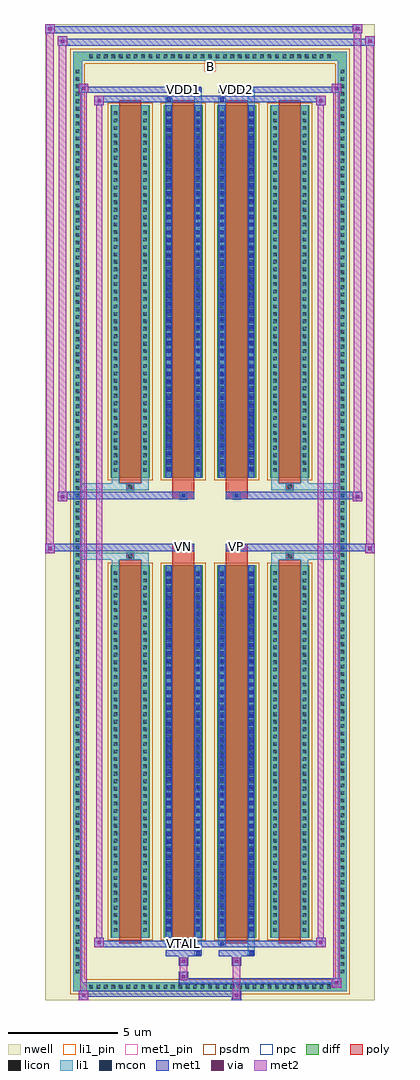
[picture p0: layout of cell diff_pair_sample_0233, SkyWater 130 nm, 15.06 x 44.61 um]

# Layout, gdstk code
import gdstk
lib = gdstk.Library(unit=1e-6, precision=5e-09)
def R(c, l, rs):  # rectangles x0, y0, x1, y1
    for r in rs: c.add(gdstk.rectangle(r[:2], r[2:], *l))
def A(c, l, x, y, w, h, nx, ny, dx, dy):  # array of equal rectangles
    R(c, l, [(x+i*dx, y+j*dy, x+i*dx+w, y+j*dy+h) for i in range(nx) for j in range(ny)])
def P(c, l, *ps):  # polygons
    for p in ps: c.add(gdstk.Polygon(p, *l))
nwell = (64, 20)
diff = (65, 20)
poly = (66, 20)
licon = (66, 44)
li1_pin = (67, 16)
li1 = (67, 20)
mcon = (67, 44)
met1_pin = (68, 16)
met1 = (68, 20)
via = (68, 44)
met2 = (69, 20)
psdm = (94, 20)
npc = (95, 20)

diff_pair_sample_0233 = lib.new_cell('diff_pair_sample_0233')
R(diff_pair_sample_0233, nwell, [(-7.53,-21.87,7.53,22.74), (-4.85,-20.06,-0.01,-0.82), (0.01,-20.06,4.85,-0.82), (-4.85,0.82,-0.01,20.06), (0.01,0.82,4.85,20.06)])
A(diff_pair_sample_0233, diff, -5.645, -21.47, 0.41, 0.41, 33, 2, 0.34, 42.53)
A(diff_pair_sample_0233, diff, -6.26, -20.775, 0.41, 0.41, 1, 122, 0, 0.34)
A(diff_pair_sample_0233, diff, 5.85, -20.775, 0.41, 0.41, 1, 122, 0, 0.34)
A(diff_pair_sample_0233, diff, -4.54, -19.015, 1.79, 17.01, 4, 2, 2.43, 21.02)
R(diff_pair_sample_0233, diff, [(-5.645,-21.47,5.645,-21.06), (-6.26,-20.775,-5.85,20.775), (5.85,-20.775,6.26,20.775), (-5.645,21.06,5.645,21.47)])
P(diff_pair_sample_0233, diff, [(6.26,21.47),(-6.26,21.47),(-6.26,-21.06),(-5.85,-21.06),(-5.85,21.06),(5.85,21.06),(5.85,-21.06),(-5.85,-21.06),(-6.26,-21.06),(-6.26,-21.47),(6.26,-21.47)])
A(diff_pair_sample_0233, poly, -4.15, -19.265, 1.01, 17.51, 4, 2, 2.43, 21.02)
R(diff_pair_sample_0233, poly, [(-3.81,-1.755,-3.48,-1.425), (-3.81,-1.755,-3.48,-1.425), (-1.72,-1.755,-0.71,-1.35), (0.71,-1.755,1.72,-1.35), (3.48,-1.755,3.81,-1.425), (3.48,-1.755,3.81,-1.425), (-1.72,-1.35,-0.71,-1.02), (-1.38,-1.35,-1.05,-1.02), (0.71,-1.35,1.72,-1.02), (1.05,-1.35,1.38,-1.02), (-1.72,1.02,-0.71,1.35), (-1.38,1.02,-1.05,1.35), (0.71,1.02,1.72,1.35), (1.05,1.02,1.38,1.35), (-1.72,1.35,-0.71,1.755), (0.71,1.35,1.72,1.755), (-3.81,1.425,-3.48,1.755), (-3.81,1.425,-3.48,1.755), (3.48,1.425,3.81,1.755), (3.48,1.425,3.81,1.755)])
A(diff_pair_sample_0233, licon, -5.525, -21.35, 0.17, 0.17, 33, 2, 0.34, 42.53)
A(diff_pair_sample_0233, licon, -6.14, -20.655, 0.17, 0.17, 1, 122, 0, 0.34)
A(diff_pair_sample_0233, licon, 5.97, -20.655, 0.17, 0.17, 1, 122, 0, 0.34)
A(diff_pair_sample_0233, licon, -4.4, -18.755, 0.17, 0.17, 1, 49, 0, 0.34)
A(diff_pair_sample_0233, licon, -3.06, -18.755, 0.17, 0.17, 1, 49, 0, 0.34)
A(diff_pair_sample_0233, licon, -1.97, -18.755, 0.17, 0.17, 1, 49, 0, 0.34)
A(diff_pair_sample_0233, licon, -0.63, -18.755, 0.17, 0.17, 1, 49, 0, 0.34)
A(diff_pair_sample_0233, licon, 0.46, -18.755, 0.17, 0.17, 1, 49, 0, 0.34)
A(diff_pair_sample_0233, licon, 1.8, -18.755, 0.17, 0.17, 1, 49, 0, 0.34)
A(diff_pair_sample_0233, licon, 2.89, -18.755, 0.17, 0.17, 1, 49, 0, 0.34)
A(diff_pair_sample_0233, licon, 4.23, -18.755, 0.17, 0.17, 1, 49, 0, 0.34)
A(diff_pair_sample_0233, licon, -4.4, 2.265, 0.17, 0.17, 1, 49, 0, 0.34)
A(diff_pair_sample_0233, licon, -3.06, 2.265, 0.17, 0.17, 1, 49, 0, 0.34)
A(diff_pair_sample_0233, licon, -1.97, 2.265, 0.17, 0.17, 1, 49, 0, 0.34)
A(diff_pair_sample_0233, licon, -0.63, 2.265, 0.17, 0.17, 1, 49, 0, 0.34)
A(diff_pair_sample_0233, licon, 0.46, 2.265, 0.17, 0.17, 1, 49, 0, 0.34)
A(diff_pair_sample_0233, licon, 1.8, 2.265, 0.17, 0.17, 1, 49, 0, 0.34)
A(diff_pair_sample_0233, licon, 2.89, 2.265, 0.17, 0.17, 1, 49, 0, 0.34)
A(diff_pair_sample_0233, licon, 4.23, 2.265, 0.17, 0.17, 1, 49, 0, 0.34)
R(diff_pair_sample_0233, licon, [(-3.73,-1.675,-3.56,-1.505), (3.56,-1.675,3.73,-1.505), (-1.3,-1.27,-1.13,-1.1), (1.13,-1.27,1.3,-1.1), (-1.3,1.1,-1.13,1.27), (1.13,1.1,1.3,1.27), (-3.73,1.505,-3.56,1.675), (3.56,1.505,3.73,1.675)])
R(diff_pair_sample_0233, li1_pin, [(-0.25,20.56,0.25,21.06)])
A(diff_pair_sample_0233, li1, -5.605, -21.43, 0.33, 0.33, 33, 2, 0.34, 42.53)
A(diff_pair_sample_0233, li1, -6.22, -20.735, 0.33, 0.33, 1, 122, 0, 0.34)
A(diff_pair_sample_0233, li1, 5.89, -20.735, 0.33, 0.33, 1, 122, 0, 0.34)
A(diff_pair_sample_0233, li1, -4.48, -18.835, 0.33, 0.33, 1, 49, 0, 0.34)
A(diff_pair_sample_0233, li1, -3.14, -18.835, 0.33, 0.33, 1, 49, 0, 0.34)
A(diff_pair_sample_0233, li1, -2.05, -18.835, 0.33, 0.33, 1, 49, 0, 0.34)
A(diff_pair_sample_0233, li1, -0.71, -18.835, 0.33, 0.33, 1, 49, 0, 0.34)
A(diff_pair_sample_0233, li1, 0.38, -18.835, 0.33, 0.33, 1, 49, 0, 0.34)
A(diff_pair_sample_0233, li1, 1.72, -18.835, 0.33, 0.33, 1, 49, 0, 0.34)
A(diff_pair_sample_0233, li1, 2.81, -18.835, 0.33, 0.33, 1, 49, 0, 0.34)
A(diff_pair_sample_0233, li1, 4.15, -18.835, 0.33, 0.33, 1, 49, 0, 0.34)
A(diff_pair_sample_0233, li1, -1.97, -18.695, 0.17, 0.17, 1, 46, 0, 0.36)
A(diff_pair_sample_0233, li1, -0.63, -18.695, 0.17, 0.17, 1, 46, 0, 0.36)
A(diff_pair_sample_0233, li1, 0.46, -18.695, 0.17, 0.17, 1, 46, 0, 0.36)
A(diff_pair_sample_0233, li1, 1.8, -18.695, 0.17, 0.17, 1, 46, 0, 0.36)
A(diff_pair_sample_0233, li1, -4.48, 2.185, 0.33, 0.33, 1, 49, 0, 0.34)
A(diff_pair_sample_0233, li1, -3.14, 2.185, 0.33, 0.33, 1, 49, 0, 0.34)
A(diff_pair_sample_0233, li1, -2.05, 2.185, 0.33, 0.33, 1, 49, 0, 0.34)
A(diff_pair_sample_0233, li1, -0.71, 2.185, 0.33, 0.33, 1, 49, 0, 0.34)
A(diff_pair_sample_0233, li1, 0.38, 2.185, 0.33, 0.33, 1, 49, 0, 0.34)
A(diff_pair_sample_0233, li1, 1.72, 2.185, 0.33, 0.33, 1, 49, 0, 0.34)
A(diff_pair_sample_0233, li1, 2.81, 2.185, 0.33, 0.33, 1, 49, 0, 0.34)
A(diff_pair_sample_0233, li1, 4.15, 2.185, 0.33, 0.33, 1, 49, 0, 0.34)
A(diff_pair_sample_0233, li1, -1.97, 2.325, 0.17, 0.17, 1, 46, 0, 0.36)
A(diff_pair_sample_0233, li1, -0.63, 2.325, 0.17, 0.17, 1, 46, 0, 0.36)
A(diff_pair_sample_0233, li1, 0.46, 2.325, 0.17, 0.17, 1, 46, 0, 0.36)
A(diff_pair_sample_0233, li1, 1.8, 2.325, 0.17, 0.17, 1, 46, 0, 0.36)
R(diff_pair_sample_0233, li1, [(-6.26,-21.47,-5.85,-21.06), (-6.26,-21.47,-5.85,-21.06), (-5.85,-21.47,5.85,-21.06), (5.85,-21.47,6.26,-21.06), (5.85,-21.47,6.26,-21.06), (-6.26,-21.06,-5.85,21.06), (5.85,-21.06,6.26,21.06), (-0.71,-19.82,-0.38,-19.015), (-0.63,-19.82,-0.46,-19.65), (1.72,-19.82,2.05,-19.015), (1.8,-19.82,1.97,-19.65), (-2.05,-19.39,-1.72,-19.015), (-1.97,-19.39,-1.8,-19.22), (0.38,-19.39,0.71,-19.015), (0.46,-19.39,0.63,-19.22), (-4.48,-19.015,-4.15,-2.005), (-3.14,-19.015,-2.81,-2.005), (-2.05,-19.015,-1.72,-2.005), (-0.71,-19.015,-0.38,-2.005), (0.38,-19.015,0.71,-2.005), (1.72,-19.015,2.05,-2.005), (2.81,-19.015,3.14,-2.005), (4.15,-19.015,4.48,-2.005), (-1.97,-18.695,-1.8,-2.325), (-0.63,-18.695,-0.46,-2.325), (0.46,-18.695,0.63,-2.325), (1.8,-18.695,1.97,-2.325), (-4.48,-2.005,-4.15,-1.425), (-3.14,-2.005,-2.81,-1.425), (2.81,-2.005,3.14,-1.425), (4.15,-2.005,4.48,-1.425), (-6.26,-1.755,-3.81,-1.425), (-4.48,-1.755,-3.81,-1.425), (-3.81,-1.755,-3.48,-1.425), (-3.48,-1.755,-2.81,-1.425), (2.81,-1.755,3.48,-1.425), (3.48,-1.755,3.81,-1.425), (3.48,-1.755,6.26,-1.425), (3.81,-1.755,4.48,-1.425), (-1.38,-1.35,-1.05,-1.02), (1.05,-1.35,1.38,-1.02), (-1.38,1.02,-1.05,1.35), (1.05,1.02,1.38,1.35), (-6.26,1.425,-3.81,1.755), (-4.48,1.425,-3.81,1.755), (-4.48,1.425,-4.15,2.005), (-3.81,1.425,-3.48,1.755), (-3.48,1.425,-2.81,1.755), (-3.14,1.425,-2.81,2.005), (2.81,1.425,3.48,1.755), (2.81,1.425,3.14,2.005), (3.48,1.425,3.81,1.755), (3.48,1.425,6.26,1.755), (3.81,1.425,4.48,1.755), (4.15,1.425,4.48,2.005), (-4.48,2.005,-4.15,19.015), (-3.14,2.005,-2.81,19.015), (-2.05,2.005,-1.72,19.015), (-0.71,2.005,-0.38,19.015), (0.38,2.005,0.71,19.015), (1.72,2.005,2.05,19.015), (2.81,2.005,3.14,19.015), (4.15,2.005,4.48,19.015), (-1.97,2.325,-1.8,18.695), (-0.63,2.325,-0.46,18.695), (0.46,2.325,0.63,18.695), (1.8,2.325,1.97,18.695), (-2.05,19.015,-1.72,19.39), (-0.71,19.015,-0.38,19.82), (0.38,19.015,0.71,19.39), (1.72,19.015,2.05,19.82), (-1.97,19.22,-1.8,19.39), (0.46,19.22,0.63,19.39), (-0.63,19.65,-0.46,19.82), (1.8,19.65,1.97,19.82), (-6.26,21.06,-5.85,21.47), (-6.26,21.06,-5.85,21.47), (-5.85,21.06,5.85,21.47), (5.85,21.06,6.26,21.47), (5.85,21.06,6.26,21.47)])
A(diff_pair_sample_0233, mcon, -1.97, -18.695, 0.17, 0.17, 1, 46, 0, 0.36)
A(diff_pair_sample_0233, mcon, -0.63, -18.695, 0.17, 0.17, 1, 46, 0, 0.36)
A(diff_pair_sample_0233, mcon, 0.46, -18.695, 0.17, 0.17, 1, 46, 0, 0.36)
A(diff_pair_sample_0233, mcon, 1.8, -18.695, 0.17, 0.17, 1, 46, 0, 0.36)
A(diff_pair_sample_0233, mcon, -1.97, 2.325, 0.17, 0.17, 1, 46, 0, 0.36)
A(diff_pair_sample_0233, mcon, -0.63, 2.325, 0.17, 0.17, 1, 46, 0, 0.36)
A(diff_pair_sample_0233, mcon, 0.46, 2.325, 0.17, 0.17, 1, 46, 0, 0.36)
A(diff_pair_sample_0233, mcon, 1.8, 2.325, 0.17, 0.17, 1, 46, 0, 0.36)
R(diff_pair_sample_0233, mcon, [(-0.63,-19.82,-0.46,-19.65), (1.8,-19.82,1.97,-19.65), (-1.97,-19.39,-1.8,-19.22), (0.46,-19.39,0.63,-19.22), (-1.3,-1.27,-1.13,-1.1), (1.13,-1.27,1.3,-1.1), (-1.3,1.1,-1.13,1.27), (1.13,1.1,1.3,1.27), (-1.97,19.22,-1.8,19.39), (0.46,19.22,0.63,19.39), (-0.63,19.65,-0.46,19.82), (1.8,19.65,1.97,19.82)])
R(diff_pair_sample_0233, met1_pin, [(-1.35,-19.43,-1.08,-19.16), (-1.35,-1.29,-1.08,-1.02), (1.08,-1.29,1.35,-1.02), (-1.35,19.61,-1.08,19.88), (1.08,19.61,1.35,19.88)])
A(diff_pair_sample_0233, met1, -2.03, -18.755, 0.29, 0.29, 1, 46, 0, 0.36)
A(diff_pair_sample_0233, met1, -0.69, -18.755, 0.29, 0.29, 1, 46, 0, 0.36)
A(diff_pair_sample_0233, met1, 0.4, -18.755, 0.29, 0.29, 1, 46, 0, 0.36)
A(diff_pair_sample_0233, met1, 1.74, -18.755, 0.29, 0.29, 1, 46, 0, 0.36)
A(diff_pair_sample_0233, met1, -2.03, 2.265, 0.29, 0.29, 1, 46, 0, 0.36)
A(diff_pair_sample_0233, met1, -0.69, 2.265, 0.29, 0.29, 1, 46, 0, 0.36)
A(diff_pair_sample_0233, met1, 0.4, 2.265, 0.29, 0.29, 1, 46, 0, 0.36)
A(diff_pair_sample_0233, met1, 1.74, 2.265, 0.29, 0.29, 1, 46, 0, 0.36)
R(diff_pair_sample_0233, met1, [(-5.99,-21.87,-5.56,-21.44), (1,-21.87,1.43,-21.44), (-5.99,-21.73,1.43,-21.44), (5.56,-21.3,5.99,-20.87), (-1.43,-21.16,5.99,-20.87), (-1.43,-21.02,-1,-20.59), (-1.43,-20.31,-1,-19.88), (1,-20.31,1.43,-19.88), (-2.03,-19.88,-0.4,-19.59), (-0.69,-19.88,-0.4,-19.59), (0.4,-19.88,2.03,-19.59), (1.74,-19.88,2.03,-19.59), (-5.28,-19.45,-4.85,-19.02), (-5.28,-19.45,-2.03,-19.16), (-2.03,-19.45,-1.74,-19.16), (-2.03,-19.45,-0.4,-19.16), (-0.4,-19.45,0.4,-19.16), (0.4,-19.45,0.69,-19.16), (0.4,-19.45,2.03,-19.16), (2.03,-19.45,5.28,-19.16), (4.85,-19.45,5.28,-19.02), (-2.03,-19.015,-1.74,-2.005), (-0.69,-19.015,-0.4,-2.005), (0.4,-19.015,0.69,-2.005), (1.74,-19.015,2.03,-2.005), (-7.53,-1.45,-7.1,-1.02), (7.1,-1.45,7.53,-1.02), (-7.53,-1.35,-0.71,-1.02), (-1.72,-1.35,-0.71,-1.02), (0.71,-1.35,1.72,-1.02), (0.71,-1.35,7.53,-1.02), (-1.36,-1.33,-1.07,-1.04), (1.07,-1.33,1.36,-1.04), (-6.96,0.92,-6.53,1.35), (6.53,0.92,6.96,1.35), (-6.96,1.02,-1.72,1.35), (-1.72,1.02,-0.71,1.35), (0.71,1.02,1.72,1.35), (1.72,1.02,6.96,1.35), (-1.36,1.04,-1.07,1.33), (1.07,1.04,1.36,1.33), (-2.03,2.005,-1.74,19.015), (-0.69,2.005,-0.4,19.015), (0.4,2.005,0.69,19.015), (1.74,2.005,2.03,19.015), (-5.28,19.02,-4.85,19.45), (4.85,19.02,5.28,19.45), (-5.28,19.16,-2.03,19.45), (-2.03,19.16,-1.74,19.45), (-2.03,19.16,-0.4,19.45), (-0.4,19.16,0.4,19.45), (0.4,19.16,0.69,19.45), (0.4,19.16,2.03,19.45), (2.03,19.16,5.28,19.45), (-5.99,19.59,-5.56,20.02), (-5.99,19.59,-2.03,19.88), (-2.03,19.59,-0.4,19.88), (-0.69,19.59,-0.4,19.88), (0.4,19.59,2.03,19.88), (1.74,19.59,2.03,19.88), (2.03,19.59,5.99,19.88), (5.56,19.59,5.99,20.02), (-6.96,21.74,-6.53,22.17), (-6.96,21.74,-4.85,22.07), (-4.85,21.74,4.85,22.07), (4.85,21.74,7.53,22.07), (7.1,21.74,7.53,22.17), (-7.53,22.31,-7.1,22.74), (-7.53,22.31,-4.85,22.64), (-4.85,22.31,4.85,22.64), (4.85,22.31,6.96,22.64), (6.53,22.31,6.96,22.74)])
R(diff_pair_sample_0233, via, [(-5.85,-21.73,-5.7,-21.58), (1.14,-21.73,1.29,-21.58), (5.7,-21.16,5.85,-21.01), (-1.29,-20.88,-1.14,-20.73), (-1.29,-20.17,-1.14,-20.02), (1.14,-20.17,1.29,-20.02), (-5.14,-19.31,-4.99,-19.16), (4.99,-19.31,5.14,-19.16), (-7.39,-1.31,-7.24,-1.16), (7.24,-1.31,7.39,-1.16), (-6.82,1.06,-6.67,1.21), (6.67,1.06,6.82,1.21), (-5.14,19.16,-4.99,19.31), (4.99,19.16,5.14,19.31), (-5.85,19.73,-5.7,19.88), (5.7,19.73,5.85,19.88), (-6.82,21.88,-6.67,22.03), (7.24,21.88,7.39,22.03), (-7.39,22.45,-7.24,22.6), (6.67,22.45,6.82,22.6)])
R(diff_pair_sample_0233, met2, [(-5.99,-21.87,-5.56,-21.44), (-5.92,-21.87,-5.63,20.02), (-5.63,-21.87,-5.56,-21.44), (-5.94,-21.82,-5.61,-21.49), (1.05,-21.82,1.38,-21.49), (1.05,-21.49,1.38,-20.26), (5.56,-21.3,5.99,-20.87), (5.63,-21.3,5.92,20.02), (5.92,-21.3,5.99,-20.87), (5.61,-21.25,5.94,-20.92), (-1.38,-20.97,-1.05,-20.64), (-1.38,-20.64,-1.05,-20.26), (-1.38,-20.26,-1.05,-19.93), (1.05,-20.26,1.38,-19.93), (-5.28,-19.45,-4.85,-19.02), (-5.21,-19.45,-4.92,19.45), (-4.92,-19.45,-4.85,-19.02), (4.85,-19.45,5.28,-19.02), (4.92,-19.45,5.21,19.45), (5.21,-19.45,5.28,-19.02), (-5.23,-19.4,-4.9,-19.07), (4.9,-19.4,5.23,-19.07), (-7.53,-1.45,-7.1,-1.02), (-7.48,-1.45,-7.15,22.74), (-7.15,-1.45,-7.1,-1.02), (7.1,-1.45,7.53,-1.02), (7.15,-1.45,7.48,22.17), (7.48,-1.45,7.53,-1.02), (-7.48,-1.4,-7.15,-1.07), (7.15,-1.4,7.48,-1.07), (-6.96,0.92,-6.53,1.35), (-6.91,0.92,-6.58,22.17), (-6.58,0.92,-6.53,1.35), (6.53,0.92,6.96,1.35), (6.58,0.92,6.91,22.74), (6.91,0.92,6.96,1.35), (-6.91,0.97,-6.58,1.3), (6.58,0.97,6.91,1.3), (-5.28,19.02,-4.85,19.45), (-4.92,19.02,-4.85,19.45), (4.85,19.02,5.28,19.45), (5.21,19.02,5.28,19.45), (-5.23,19.07,-4.9,19.4), (4.9,19.07,5.23,19.4), (-5.99,19.59,-5.56,20.02), (-5.63,19.59,-5.56,20.02), (5.56,19.59,5.99,20.02), (5.92,19.59,5.99,20.02), (-5.94,19.64,-5.61,19.97), (5.61,19.64,5.94,19.97), (-6.96,21.74,-6.53,22.17), (-6.58,21.74,-6.53,22.17), (7.1,21.74,7.53,22.17), (7.48,21.74,7.53,22.17), (-6.91,21.79,-6.58,22.12), (7.15,21.79,7.48,22.12), (-7.53,22.31,-7.1,22.74), (-7.15,22.31,-7.1,22.74), (6.53,22.31,6.96,22.74), (6.91,22.31,6.96,22.74), (-7.48,22.36,-7.15,22.69), (6.58,22.36,6.91,22.69)])
A(diff_pair_sample_0233, psdm, -4.67, -19.145, 2.05, 17.27, 4, 2, 2.43, 21.02)
P(diff_pair_sample_0233, psdm, [(6.39,21.6),(-6.39,21.6),(-6.39,-20.93),(-5.72,-20.93),(-5.72,20.93),(5.72,20.93),(5.72,-20.93),(-5.72,-20.93),(-6.39,-20.93),(-6.39,-21.6),(6.39,-21.6)])
R(diff_pair_sample_0233, npc, [(-3.83,-1.775,-3.46,-1.405), (3.46,-1.775,3.83,-1.405), (-1.4,-1.37,-1.03,-1), (1.03,-1.37,1.4,-1), (-1.4,1,-1.03,1.37), (1.03,1,1.4,1.37), (-3.83,1.405,-3.46,1.775), (3.46,1.405,3.83,1.775)])
diff_pair_sample_0233.add(gdstk.Label('VTAIL', (-1.215,-19.295), layer=68, texttype=5))
diff_pair_sample_0233.add(gdstk.Label('VN', (-1.215,-1.155), layer=68, texttype=5))
diff_pair_sample_0233.add(gdstk.Label('VP', (1.215,-1.155), layer=68, texttype=5))
diff_pair_sample_0233.add(gdstk.Label('B', (0,20.81), layer=67, texttype=5))
diff_pair_sample_0233.add(gdstk.Label('VDD2', (1.215,19.745), layer=68, texttype=5))
diff_pair_sample_0233.add(gdstk.Label('VDD1', (-1.215,19.745), layer=68, texttype=5))

lib.write_gds('diff_pair_sample_0233.gds')
